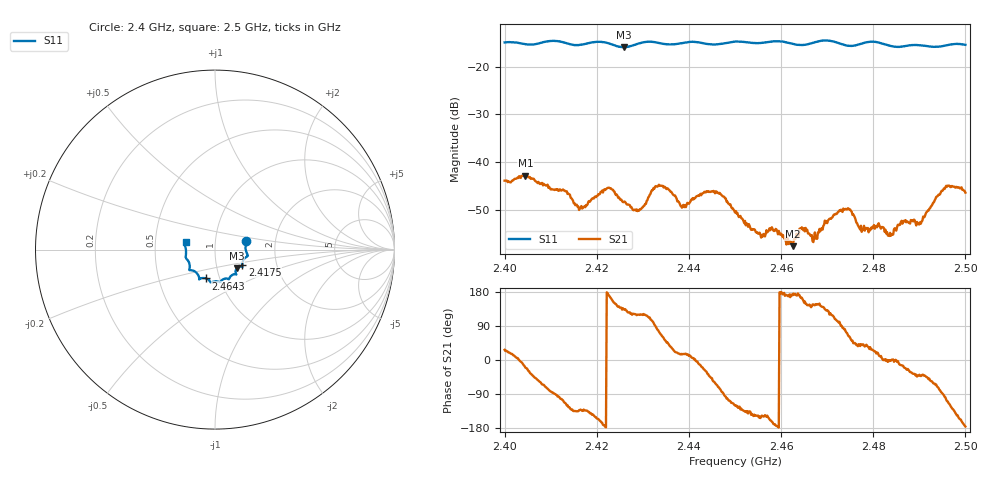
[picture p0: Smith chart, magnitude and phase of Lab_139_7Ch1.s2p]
# Hz S RI R 50
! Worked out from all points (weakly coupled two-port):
!   601 points, 2.4 GHz to 2.5 GHz, reference 50 ohm
!   highest |S21| = -42.82 dB at 2.4045 GHz (marker M1); lowest = -57.6 dB at 2.4625 GHz (marker M2)
!   lowest |S11| = -15.9 dB at 2.4258 GHz (marker M3), VSWR 1.38, Z = 62.3 - j13.2 ohm
!   |S11| at or under -10 dB: start of sweep to end of sweep
!   S12 and S22 are empty: the file has one direction only
!   S11 on the Smith chart (normalised r, x): 2.4 GHz: 1.41, +0.14; 2.4175 GHz: 1.34, -0.23; 2.4643 GHz: 0.86, -0.29; 2.5 GHz: 0.72, +0.06
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2.4e9  0.173 0.0489  0.0057 0.00289  0 0  0 0
2.4045e9  0.1709 0.0197  0.0068 -0.00246  0 0  0 0
2.416667e9  0.1529 -0.0741  -0.00234 -0.00255  0 0  0 0
2.4175e9  0.1518 -0.0835  -0.00231 -0.00246  0 0  0 0
2.4225e9  0.1488 -0.0945  -0.00533 0.000683  0 0  0 0
2.425833e9  0.1218 -0.1034  -0.00264 0.00274  0 0  0 0
2.429333e9  0.1158 -0.1331  -0.00156 0.00281  0 0  0 0
2.433333e9  0.1134 -0.137  0.00114 0.00554  0 0  0 0
2.438833e9  0.0804 -0.1588  0.00343 0.000963  0 0  0 0
2.446333e9  0.0451 -0.1659  0.00152 -0.00452  0 0  0 0
2.45e9  0.0289 -0.181  -0.00148 -0.00257  0 0  0 0
2.4555e9  -0.00225 -0.1773  -0.00156 -0.000791  0 0  0 0
2.4585e9  -0.0206 -0.1833  -0.00187 -0.000337  0 0  0 0
2.4625e9  -0.033 -0.1701  -0.0013 0.000218  0 0  0 0
2.464333e9  -0.0499 -0.161  -0.00191 0.000561  0 0  0 0
2.466667e9  -0.0759 -0.1593  -0.00135 0.00106  0 0  0 0
2.474e9  -0.0975 -0.1364  0.000783 0.00314  0 0  0 0
2.477333e9  -0.1296 -0.1157  0.00161 0.00143  0 0  0 0
2.483333e9  -0.1408 -0.0901  0.00171 -9.95e-06  0 0  0 0
2.490167e9  -0.1632 -0.0395  0.00176 -0.00154  0 0  0 0
2.495833e9  -0.1662 0.0182  -0.00142 -0.00546  0 0  0 0
2.5e9  -0.164 0.0429  -0.00477 -0.000371  0 0  0 0
